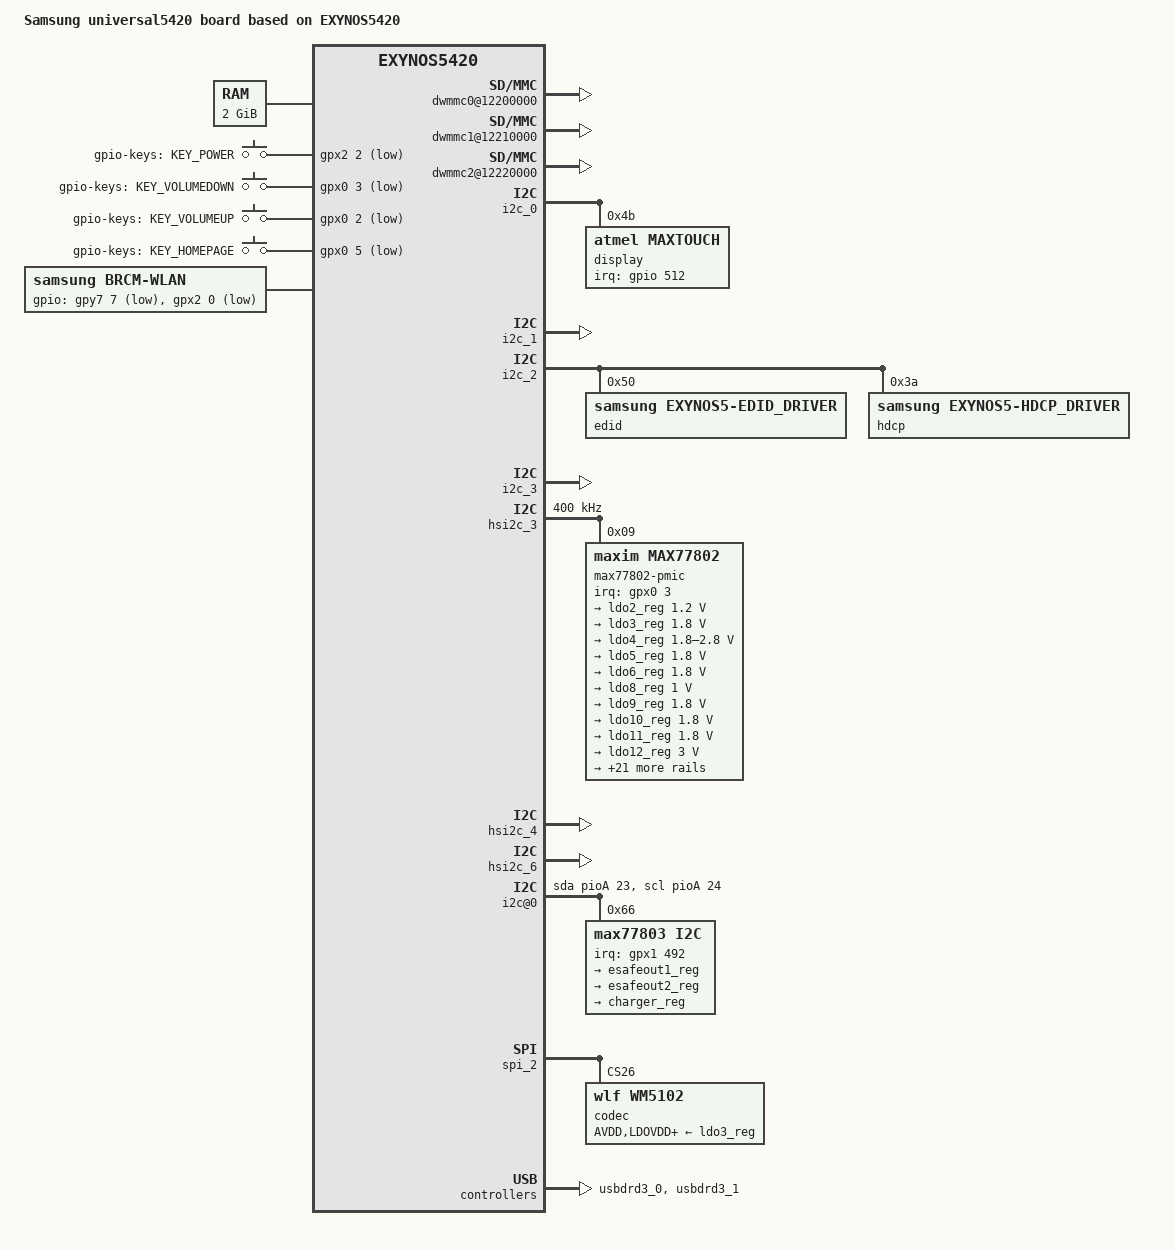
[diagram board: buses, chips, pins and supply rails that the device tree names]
/dts-v1/;
#include "exynos5420.dtsi"

/ {
	model = "Samsung universal5420 board based on EXYNOS5420";
	compatible = "samsung,universal5420", "samsung,exynos5420";

	memory {
		reg = <0x20000000 0x80000000>;
	};

	chosen {
		bootargs = "console=ttySAC2,115200n8 vmalloc=512M androidboot.console=ttySAC2 noexec=on";
	};

	fixed-rate-clocks {
		oscclk {
			compatible = "samsung,exynos5420-oscclk";
			clock-frequency = <24000000>;
		};
	};

	rtc@101E0000 {
		status = "okay";
	};

	codec@11000000 {
		samsung,mfc-r = <0x43000000 0x800000>;
		samsung,mfc-l = <0x51000000 0x800000>;
	};

	dwmmc0@12200000 {
		status = "okay";
		num-slots = <1>;
		broken-cd;
		bypass-smu;
		fixed_volt;
		only_once_tune;
		supports-highspeed;
		supports-hs200-mode;
		sw_data_timeout;
		fifo-depth = <0x40>;
		card-detect-delay = <200>;
		qos_int_level = <200000>;
		samsung,dw-mshc-ciu-div = <3>;
		samsung,dw-mshc-sdr-timing = <0 4 3>;
		samsung,dw-mshc-ddr-timing = <0 2 3>;
		samsung,dw-mshc-hs200-timing = <0 2 3>;
		samsung,dw-mshc-ddr200-timing = <0 2 1>;
		clk_pin = "gpc0-0";
		clk_addr = "13410000.pinctrl";
		clk_val = <0x3>;
		clk_str_num = <4>;
		num-ref-clks = <8>;
		ciu_clkin = <20812500 41625000 41625000 83250000 166500000 83250000 166500000 333000000>;
		pinctrl-names = "default";
		pinctrl-0 = <&sd0_clk &sd0_cmd &sd0_rdqs &sd0_bus1 &sd0_bus4 &sd0_bus8>;

		slot@0 {
			reg = <0>;
			bus-width = <8>;
		};
	};

	dwmmc1@12210000 {
		status = "okay";
		num-slots = <1>;
		fixed_volt;
		only_once_tune;
		supports-highspeed;
		sw_data_timeout;
		fifo-depth = <0x40>;
		card-detect-delay = <200>;
		qos_int_level = <200000>;
		samsung,dw-mshc-ciu-div = <3>;
		samsung,dw-mshc-sdr-timing = <2 3 3>;
		samsung,dw-mshc-ddr-timing = <1 2 3>;
		clk_pin = "gpc1-0";
		clk_addr = "13410000.pinctrl";
		clk_val = <0x3>;
		clk_str_num = <4>;
		num-ref-clks = <8>;
		ciu_clkin = <20812500 41625000 41625000 83250000 166500000 83250000 166500000 333000000>;
		pinctrl-names = "default";
		pinctrl-0 = <&sd1_clk &sd1_cmd &sd1_bus1 &sd1_bus4>;

		slot@0 {
			reg = <0>;
			bus-width = <4>;
		};
	};

	dwmmc2@12220000 {
		status = "okay";
		num-slots = <1>;
		supports-highspeed;
		sw_data_timeout;
		fifo-depth = <0x40>;
		card-detect-delay = <200>;
		qos_int_level = <200000>;
		samsung,dw-mshc-ciu-div = <3>;
		samsung,dw-mshc-sdr-timing = <2 3 3>;
		samsung,dw-mshc-ddr-timing = <1 2 3>;
		clk_pin = "gpc2-0";
		clk_addr = "13410000.pinctrl";
		clk_val = <0x3>;
		clk_str_num = <4>;
		num-ref-clks = <8>;
		ciu_clkin = <20812500 41625000 41625000 83250000 166500000 83250000 166500000 333000000>;
		pinctrl-names = "default";
		pinctrl-0 = <&sd2_clk &sd2_cmd &sd2_cd &sd2_bus1 &sd2_bus4 &dwmmc2_cd_irq>;

		gpio-controller;
		#gpio-cells = <2>;
		cd-gpio = <&gpx2 4 0xf>;

		slot@0 {
			reg = <0>;
			bus-width = <4>;
			disable-wp;
		};
	};

	i2c_0: i2c@12C60000 {
		samsung,i2c-sda-delay = <100>;
		samsung,i2c-max-bus-freq = <66000>;
		status = "okay";

		display: touch@4b {
			compatible = "atmel,maxtouch";
			reg = <0x4b>;
			interrupt-parent = <&gpio>;
			interrupts = <512 0>;
		};
	};

	i2c_1: i2c@12C70000 {
		samsung,i2c-sda-delay = <100>;
		samsung,i2c-max-bus-freq = <66000>;
		status = "okay";
	};

	i2c_2: i2c@12C80000 {
		status = "okay";

		edid@50 {
			compatible = "samsung,exynos5-edid_driver";
			reg = <0x50>;
		};

		hdcp@3A {
			compatible = "samsung,exynos5-hdcp_driver";
			reg = <0x3A>;
		};
	};

	i2c_3: i2c@12C90000 {
		status = "okay";
	}

	hsi2c_3: i2c@12CD0000 {
		clock-frequency = <400000>;
		status = "okay";

		max77802-pmic@9 {
			compatible = "maxim,max77802";
			interrupt-parent = <&gpx0>;
			interrupts = <3 IRQ_TYPE_LEVEL_HIGH>;
			pinctrl-names = "default";
			pinctrl-0 = <&max77802_irq>;
			wakeup-source;
			reg = <0x9>;

			voltage-regulators {

				ldo1_reg: LDO1 {
					regulator-compatible = "LDO1"
					regulator-status-disabled;
				};

				ldo2_reg: LDO2 {
					regulator-compatible = "LDO2";
					regulator-name ="VMEM2_1.2V_AP";
					regulator-min-microvolt = <1200000>;
					regulator-max-microvolt = <1200000>;
					regulator-always-on;
					regulator-boot-on;
					regulator-apply-uv;
					regulator-valid-modes-mask {	
						regulator-change-status;
					};
					regulator-mem-on;
				};

				ldo3_reg: LDO3 {
					regulator-compatible = 	"LDO3";
					regulator-name = "VCC_1.8V_AP";
					regulator-min-microvolt = <1800000>;
					regulator-max-microvolt = <1800000>;
					regulator-always-on;
					regulator-boot-on;
					regulator-apply-uv;
					regulator-valid-modes-mask {	
						regulator-change-status;
					};
					regulator-mem-on;
				};

				ldo4_reg: LDO4 {
					regulator-compatible = 	"LDO4";
					regulator-name = "VMMC2_2.8V_AP";
					regulator-min-microvolt = <1800000>;
					regulator-max-microvolt = <2800000>;
					regulator-always-on;
					regulator-boot-on;
					regulator-apply-uv;
					regulator-valid-modes-mask {
						regulator-change-voltage;
						regulator-change-status;
					};
					regulator-mem-on;
				};

				ldo5_reg: LDO5 {
					regulator-compatible = "LDO5";
					regulator-name = "VHSIC_1.8V_AP";
					regulator-min-microvolt = <1800000>;
					regulator-max-microvolt = <1800000>;
					regulator-always-on;
					regulator-boot-on;
					regulator-apply-uv;
					regulator-valid-modes-mask {	
						regulator-change-status;
					};
					regulator-mem-on;
				};

				ldo6_reg: LDO6 {
					regulator-compatible = "LDO6";
					regulator-name = "VXPLL_1.8V_AP"
					regulator-min-microvolt = <1800000>;
					regulator-max-microvolt = <1800000>;
					regulator-always-on;
					regulator-boot-on;
					regulator-apply-uv;
					regulator-valid-modes-mask {	
						regulator-change-status;
					};
					regulator-mem-on;
				};

				ldo7_reg: LDO7 {
					regulator-compatible = "LDO7";
					regulator-status-disabled;
				};

				ldo8_reg: LDO8 {
					regulator-compatible = "LDO8";
					regulator-name = "VMIPI_1.0V_AP";
					regulator-min-microvolt = <1000000>;
					regulator-max-microvolt = <1000000>;
					regulator-always-on;
					regulator-boot-on;
					regulator-apply-uv;
					regulator-valid-modes-mask {	
						regulator-change-status;
					};
					regulator-mem-on;
				};

				ldo9_reg: LDO9 {
					regulator-compatible = "LDO9";
					regulator-name = "VADC_1.8V";
					regulator-min-microvolt = <1800000>;
					regulator-max-microvolt = <1800000>;
					regulator-always-on;
					regulator-boot-on;
					regulator-apply-uv;
					regulator-valid-modes-mask {	
						regulator-change-status;
					};
					regulator-mem-on;
				};

				ldo10_reg: LDO10 {
					regulator-compatible = "LDO10";
					regulator-name = "VMIPI_1.8V_AP";
					regulator-min-microvolt = <1800000>;
					regulator-max-microvolt = <1800000>;
					regulator-always-on;
					regulator-boot-on;
					regulator-apply-uv;
					regulator-valid-modes-mask {	
						regulator-change-status;
					};
					regulator-mem-on;
				};

				ldo11_reg: LDO11 {
					regulator-compatible = "LDO11";
					regulator-name = "VDDQ_PRE_1.8V";
					regulator-min-microvolt = <1800000>;
					regulator-max-microvolt = <1800000>;
					regulator-always-on;
					regulator-boot-on;
					regulator-apply-uv;
					regulator-valid-modes-mask {	
						regulator-change-status;
					};
					regulator-mem-on;
				};

				ldo12_reg: LDO12 {
					regulator-compatible = "LDO12";
					regulator-name = "VUOTG_3.0V_AP";
					regulator-min-microvolt = <3000000>;
					regulator-max-microvolt = <3000000>;
					regulator-always-on;
					regulator-boot-on;
					regulator-apply-uv;
					regulator-valid-modes-mask {	
						regulator-change-status;
					};
					regulator-mem-on;
				};

				ldo13_reg: LDO13 {
					regulator-compatible = "LDO13";
					regulator-status-disabled;
				};

				ldo14_reg: LDO14 {
					regulator-compatible = "LDO14";
					regulator-name = "VABB1_1.8V_AP";
					regulator-min-microvolt = <1800000>;
					regulator-max-microvolt = <1800000>;
					regulator-always-on;
					regulator-boot-on;
					regulator-apply-uv;
					regulator-valid-modes-mask {	
						regulator-change-status;
					};
					regulator-mem-on;
				};

				ldo15_reg: LDO15 {
					regulator-compatible = "LDO15";
					regulator-name = "VHSIC_1.0V_AP";
					regulator-min-microvolt = <1000000>;
					regulator-max-microvolt = <1000000>;
					regulator-always-on;
					regulator-boot-on;
					regulator-apply-uv;
					regulator-valid-modes-mask {	
						regulator-change-status;
					};
					regulator-mem-on;
				};

				ldo16_reg: LDO16 {
					regulator-compatible = "LDO16";
					regulator-status-disabled;
				};

				ldo17_reg: LDO17 {
					regulator-compatible = "LDO17";
					regulator-name = "VG3DS_1.0V_AP";
					regulator-min-microvolt = <1000000>;
					regulator-max-microvolt = <1000000>;
					regulator-always-on;
					regulator-boot-on;
					regulator-apply-uv;
					regulator-valid-modes-mask {	
						regulator-change-status;
					};
					regulator-mem-on;
				};
			
				ldo18_reg: LDO18 {
					regulator-compatible = "LDO18";
					regulator-name = "CAM_ISP_SENSOR_IO_1.8V";
					regulator-min-microvolt = <1800000>;
					regulator-max-microvolt = <1800000>;
					regulator-always-on;
					regulator-boot-on;
					regulator-apply-uv;
					regulator-valid-modes-mask {	
						regulator-change-status;
					};
					regulator-mem-on;
				};
			
				ldo19_reg: LDO19 {
					regulator-compatible = "LDO19";
					regulator-name = "VT_CAM_1.8V";
					regulator-min-microvolt = <1800000>;
					regulator-max-microvolt = <1800000>;
					regulator-always-on;
					regulator-boot-on;
					regulator-apply-uv;
					regulator-valid-modes-mask {	
						regulator-change-status;
					};
					regulator-mem-on;
				};

				ldo20_reg: LDO20 {
					regulator-compatible = "LDO20";
					regulator-status-disabled;
				};

				ldo21_reg: LDO21 {
					regulator-compatible = "LDO21";
					regulator-status-disabled;
				};

				ldo22_reg: LDO22 {
					regulator-compatible = "LDO22";
					regulator-status-disabled;
				};
			
				ldo23_reg: LDO23 {
					regulator-compatible = "LDO23";
					regulator-name = "KEY_LED_3.3V";
					regulator-min-microvolt = <3300000>;
					regulator-max-microvolt = <3300000>;
					regulator-always-on;
					regulator-boot-on;
					regulator-apply-uv;
					regulator-valid-modes-mask {	
						regulator-change-status;
					};
					regulator-mem-on;
				};

				ldo24_reg: LDO24 {
					regulator-compatible = "LDO24";
					regulator-name = "CAM_AF_2.8_PM";
					regulator-min-microvolt = <2800000>;
					regulator-max-microvolt = <2800000>;
					regulator-always-on;
					regulator-boot-on;
					regulator-apply-uv;
					regulator-valid-modes-mask {
						regulator-change-voltage;	
						regulator-change-status;
					};
					regulator-mem-on;
				};

				ldo25_reg: LDO25 {
					regulator-compatible = "LDO25";
					regulator-name = "VCC_3.3V_MHL"
					regulator-min-microvolt = <3300000>;
					regulator-max-microvolt = <3300000>;
					regulator-always-on;
					regulator-boot-on;
					regulator-apply-uv;
					regulator-valid-modes-mask {	
						regulator-change-status;
					};
					regulator-mem-on;
				};

				ldo26_reg: LDO26 {
					regulator-compatible = "LDO26";
					regulator-name = "VCC_3.0V_MOTOR"
					regulator-min-microvolt = <3000000>;
					regulator-max-microvolt = <3000000>;
					regulator-always-on;
					regulator-boot-on;
					regulator-apply-uv;
					regulator-valid-modes-mask {	
						regulator-change-status;
					};
					regulator-mem-on;
				};

				ldo27_reg: LDO27 {
					regulator-compatible = "LDO27";
					regulator-name = "VSIL_1.2A";
					regulator-min-microvolt = <1200000>;
					regulator-max-microvolt = <1200000>;
					regulator-always-on;
					regulator-boot-on;
					regulator-apply-uv;
					regulator-valid-modes-mask {	
						regulator-change-status;
					};
					regulator-mem-on;
				};

				ldo28_reg: LDO28 {
					regulator-compatible = "LDO28";
					regulator-name = "VCC_1.8V_MHL";
					regulator-min-microvolt = <1800000>;
					regulator-max-microvolt = <1800000>;
					regulator-always-on;
					regulator-boot-on;
					regulator-apply-uv;
					regulator-valid-modes-mask {	
						regulator-change-status;
					};
					regulator-mem-on;
				};

				ldo29_reg: LDO29 {
					regulator-compatible = "LDO29";
					regulator-name = "TSP_VDD_1.8V";
					regulator-min-microvolt = <1800000>;
					regulator-max-microvolt = <1800000>;
					regulator-always-on;
					regulator-boot-on;
					regulator-apply-uv;
					regulator-valid-modes-mask {	
						regulator-change-status;
					};
					regulator-mem-on;
				};

				ldo30_reg: LDO30 {
					regulator-compatible = "LDO30";
					regulator-name = "VMIFS_1.0V_AP";
					regulator-min-microvolt = <1000000>;
					regulator-max-microvolt = <1000000>;
					regulator-always-on;
					regulator-boot-on;
					regulator-apply-uv;
					regulator-valid-modes-mask {	
						regulator-change-status;
					};
					regulator-mem-on;
				};

				ldo31_reg: LDO31 {
					regulator-compatible = "LDO31";
					regulator-status-disabled;
				};

				ldo32_reg: LDO32 {
					regulator-compatible = "LDO32";
					regulator-name = "IRLED_3.3V";
					regulator-min-microvolt = <3300000>;
					regulator-max-microvolt = <3300000>;
					regulator-always-on;
					regulator-boot-on;
					regulator-apply-uv;
					regulator-valid-modes-mask {	
						regulator-change-status;
					};
					regulator-mem-on;
				};

				ldo33_reg: LDO33 {
					regulator-compatible = "LDO33";
					regulator-name = "VCC_2.8V_AP";
					regulator-min-microvolt = <2800000>;
					regulator-max-microvolt = <2800000>;
					regulator-always-on;
					regulator-boot-on;
					regulator-apply-uv;
					regulator-valid-modes-mask {	
						regulator-change-status;
					};
					regulator-mem-on;
				};

				ldo34_reg: LDO34 {
					regulator-compatible = "LDO34";
					regulator-status-disabled;
				};

				ldo35_reg: LDO35 {
					regulator-compatible = "LDO35";
					regulator-name = "CAM_SENSOR_CORE_1.2V";
					regulator-min-microvolt = <1050000>;
					regulator-max-microvolt = <1200000>;
					regulator-always-on;
					regulator-boot-on;
					regulator-apply-uV;
					regulator-valid-modes-mask {	
						regulator-change-status;
					};
					regulator-mem-on;
				};

				buck1_reg: BUCK1 {
					regulator-compatible = "BUCK1";
					regulator-name = "VDD_MIF";
					regulator-min-microvolt = <700000>;
					regulator-max-microvolt = <1300000>;
					regulator-always-on;
					regulator-boot-on;
					regulator-valid-modes-mask {
						regulator-change-voltage;
						regulator-change-status;
					};
					regulator-state-mem {
						regulator-state-uv = <1100000>;
						regulator-state-mode = "normal";
						regulator-state-disabled;
					};
				};

				buck2_reg: BUCK2 {
					regulator-compatible = "BUCK2";
					regulator-name = "VDD_ARM";
					regulator-min-microvolt = <800000>;
					regulator-max-microvolt = <1500000>;
					regulator-apply-uV;
					regulator-always-on;
					regulator-boot-on;
					regulator-valid-modes-mask {
						regulator-change-status;
					};
					regulator-state-mem {
						regulator-state-disabled;
					};
				};

				buck3_reg: BUCK3 {
					regulator-compatible = "BUCK3";
					regulator-name = "VDD_INT";
					regulator-min-microvolt = <800000>;
					regulator-max-microvolt = <1400000>;
					regulator-always-on;
					regulator-boot-on;
					regulator-apply-uV;
					regulator-valid-modes-mask {
						regulator-change-voltage;
						regulator-change-status;
					};
					regulator-state-mem {
						regulator-state-uv = <1100000>;
						regulator-state-mode = "normal";
						regulator-state-disabled;
					};
				};

				buck4_reg: BUCK4 {
					regulator-compatible = "BUCK4";
					regulator-name = "VDD_G3D";
					regulator-min-microvolt = <700000>;
					regulator-max-microvolt = <1400000>;
					regulator-always-on;
					regulator-boot-on;
					regulator-apply-uV;
					regulator-valid-modes-mask {
						regulator-change-voltage;
						regulator-change-status;
					};
					regulator-state-mem {
						regulator-state-uv = <1100000>;
						regulator-state-mode = "normal";
						regulator-state-disabled;
					};
				};

				buck5_reg: BUCK5 {
					regulator-compatible = "BUCK5";
					regulator-status-disabled;
				};

				buck6_reg: BUCK6 {
					regulator-compatible = "BUCK6";
					regulator-name = "VDD_KFC";
					regulator-min-microvolt = <800000>;
					regulator-max-microvolt = <1500000>;
					regulator-always-on;
					regulator-boot-on;
					regulator-valid-modes-mask {
						regulator-change-status;
					};
					regulator-state-mem {
						regulator-state-disabled;
					};
				};
			};
		};
	};

	hsi2c_4: i2c@12E00000 {
		compatible = "samsung,exynos5-hs-i2c";
		reg = <0x12E00000 0x100>;
		interrupts = <0 64 0>;
		interrupt-parent = <&gic>;
	};

	hsi2c_6: i2c@12E20000 {
		compatible = "samsung,exynos5-hs-i2c";
		reg = <0x12E20000 0x100>;
		interrupts = <0 66 0>;
		interrupt-parent = <&gic>;
	};

	i2c@0 {
		compatible = "i2c-gpio";
		gpios = <&pioA 23 0 /* sda */
			&pioA 24 0 /* scl */
			>;
		#address-cells = <1>;
		#size-cells = <0>;
		status = "okay";

		max77803@66 {
			compatible = "max77803,i2c", "maxim,max77693";
			reg = <0x66>;
			interrupt-parent = <&gpx1>;
			interrupts = <5 2>;
			interrupts = /* <102 0>,*/ <492 0>; /* Not sure which to use */

			regulators {
				esafeout1_reg: ESAFEOUT1@1 {
					regulator-name = "ESAFEOUT1";
					regulator-boot-on;
				};

				esafeout2_reg: ESAFEOUT2@2 {
					regulator-name = "ESAFEOUT2";
				};

				charger_reg: CHARGER@0 {
					regulator-name = "CHARGER";
					regulator-boot-on;
					regulator-min-microamp = <60000>;
					regulator-max-microamp = <2580000>;
				};
			};
		};
	};

	spi_2: spi@12d40000 {
		status = "okay";

		codec: wm5102@1a {
			compatible = "wlf,wm5102", "wlf,wm5102-codec";
			reg = <0x1a>;
			interrupts = <501 0>;
			interrupt-controller;
			#interrupt-cells = <2>;
			interrupt-parent = <&gic>;

			gpio-controller;
			#gpio-cells = <2>;

			wlf,gpio-defaults = <
				0x00000000 /* AIF1TXLRCLK */
				0xffffffff
				0xffffffff
				0xffffffff
				0xffffffff
			>;

			AVDD-supply = <&ldo3_reg>;
			LDOVDD-supply = <&ldo3_reg>;
			DBVDD1-supply = <&ldo3_reg>;
			DBVDD2-supply = <&ldo3_reg>;
			DBVDD3-supply = <&ldo3_reg>;
			CPVDD-supply = <&ldo3_reg>;
			SPKVDDL-supply = <&ldo3_reg>;
			SPKVDDR-supply = <&ldo3_reg>;
		};
	};

	pinctrl_0: pinctrl@13400000 {
	};

	pinctrl_1: pinctrl@13410000 {
	};

	pinctrl_2: pinctrl@14000000 {
	};

	pinctrl_3: pinctrl@14010000 {
	};

	pinctrl_4: pinctrl@03860000 {
	};

	fimc_is@13000000 {
	};

	fimd: fimd@14400000 {
		samsung,fimd-display = <&lcd_fimd0>;
		samsung,fimd-vidout-rgb;
		samsung,fimd-inv-hsync;
		samsung,fimd-inv-vsync;
		samsung,fimd-inv-vclk;
		samsung,fimd-frame-rate = <60>;

		gpios = <&gpf0 0 2 0 0>,
			<&gpf0 1 2 0 0>,
			<&gpf0 2 2 0 0>,
			<&gpf0 3 2 0 0>,
			<&gpf0 4 2 0 0>,
			<&gpf0 5 2 0 0>,
			<&gpf0 6 2 0 0>,
			<&gpf0 7 2 0 0>,
			<&gpf1 0 2 0 0>,
			<&gpf1 1 2 0 0>,
			<&gpf1 2 2 0 0>,
			<&gpf1 3 2 0 0>,
			<&gpf1 4 2 0 0>,
			<&gpf1 5 2 0 0>,
			<&gpf1 6 2 0 0>,
			<&gpf1 7 2 0 0>,
			<&gpf2 0 2 0 0>,
			<&gpf2 1 2 0 0>,
			<&gpf2 2 2 0 0>,
			<&gpf2 3 2 0 0>,
			<&gpf2 4 2 0 0>,
			<&gpf2 5 2 0 0>,
			<&gpf2 6 2 0 0>,
			<&gpf2 7 2 0 0>,
			<&gpf3 0 2 0 0>,
			<&gpf3 1 2 0 0>,
			<&gpf3 2 2 0 0>,
			<&gpf3 3 2 0 0>;

		window0 {
			samsung,fimd-win-id = <0>;
			samsung,fimd-win-bpp = <32 24>;
			samsung,fimd-win-res = <512 300>;
			samsung,fimd-win-vres = <1024 600>;
		};

		window1 {
			samsung,fimd-win-id = <1>;
			samsung,fimd-win-bpp = <32 24>;
			samsung,fimd-win-res = <1024 200>;
			samsung,fimd-win-vres = <1024 600>;
		};
	};

	torch {
		status = "okay";
		leds1 {
			ledname = "leds-sec1";
			id = <0>;
			timer = <2>;
			timer_mode = <1>;
			cntrl_mode = <0>;
			brightness = <0x3D>;
		};
		leds2 {
			ledname = "torch-sec1";
			id = <1>;
			cntrl_mode = <0>;
			brightness = <0x06>;
		};
	};

	gpio_keys {
		compatible = "gpio-keys";
		#address-cells = <1>;
		#size-cells = <0>;
		poll-interval = <100>;

		button@1 {
			label = "gpio-keys: KEY_POWER";
			interrupts = <2 0 0>;
			interrupt-parent = <&gpx2>;
			linux,code = <116>;
			gpios = <&gpx2 2 0xf>;
			gpio-key,wakeup = <1>;
		};

		button@2 {
			label = "gpio-keys: KEY_VOLUMEDOWN";
			interrupts = <3 0 0>;
			interrupt-parent = <&gpx0>;
			linux,code = <114>;
			gpios = <&gpx0 3 0xf>;
		};

		button@3 {
			label = "gpio-keys: KEY_VOLUMEUP";
			interrupts = <2 0 0>;
			interrupt-parent = <&gpx0>;
			linux,code = <115>;
			gpios = <&gpx0 2 0xf>;
		};

		button@4 {
			label = "gpio-keys: KEY_HOMEPAGE";
			interrupts = <5 0 0>;
			interrupt-parent = <&gpx0>;
			linux,code = <172>;
			gpios = <&gpx0 5 0xf>;
			gpio-key,wakeup = <1>;
		};
	};

	sec_input_debug-keys {
		compatible = "sec_input_debug-keys";

		button@1 {
			label = "debug-keys: KEY_POWER";
			linux,code = <116>;
		};
		button@2 {
			label = "debug-keys: KEY_VOLUMEDOWN";
			linux,code = <114>;
			state = "true";
		};
		button@3 {
			label = "debug-keys: KEY_VOLUMEUP";
			linux,code = <115>;
		};
	};

	wlan {
		compatible = "samsung,brcm-wlan";
		gpios = <&gpy7 7 0x1 /* WLAN_EN */
				&gpx2 0 0xF	/* WLAN_HOST_WAKE */
				>;
		pinctrl-names = "default";
		pinctrl-0=<&cfg_wlanen &cfg_wlanhostwake>;
		status = "okay";
	};

	usbdrd3_0: usb@12000000 {
		status = "okay";
		/* using gpio (1:use, 0:not use) */
		is_gpio = <0>;

		dwc3 {
			maximum-speed = "super-speed";
			dr_mode = "otg";
		};
	};

	usbdrd3_1: usb@12400000 {
		status = "okay";
		/* using gpio (1:use, 0:not use) */
		is_gpio = <0>;

		dwc3 {
			maximum-speed = "super-speed";
			dr_mode = "otg";
		};
	};

	usbhost2: usb@12110000 {
		/* using gpio (1:use, 0:not use) */
		is_gpio = <0>;
	};

	usb_notifier {
		compatible = "samsung,usb-notifier";
	};

	i2s_dummy: dummy-i2s {
		compatible = "samsung,dummy-i2s";
		status = "okay";
	};

	sound {
		compatible = "samsung,pacific-arizona";
		samsung,audio-cpu = <&i2s0		/* primary */
				     &i2s_dummy
				     &i2s_dummy
				     &i2s0>;		/* secondary */
		samsung,audio-codec = <&audio_codec
				       &audio_codec
				       &audio_codec
				       &audio_codec>;

		clocks = <&clock 4200>;
		clock-names = "mclk";

		status = "okay";
	};

	ion {
		compatible = "samsung,exynos5430-ion";

		contig-names = "common",
			       "mfc_sh",
			       "g2d_wfd",
			       "video",
			       "mfc_input",
			       "sectbl",
			       "mfc_fw",
			       "mfc_nfw";

		contig = <0 0x6650000 0x0>,
		         <2 0x400000 0x0>,
		         <10 0x800000 0x0>,
		         <11 0x6000000 0x0>,
		         <7 0x1000000 0x0>,
		         <9 0x400000 0x0>,
		         <8 0x400000 0x0>,
		         <12 0x400000 0x0>;

		ion_noncontig_heap {
			id-type = <0 0>;
		};

		exynos_contig_heap {
			id-type = <4 6>;
		};
	};
};

TODO: fimc_is_*, spi*, etc.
